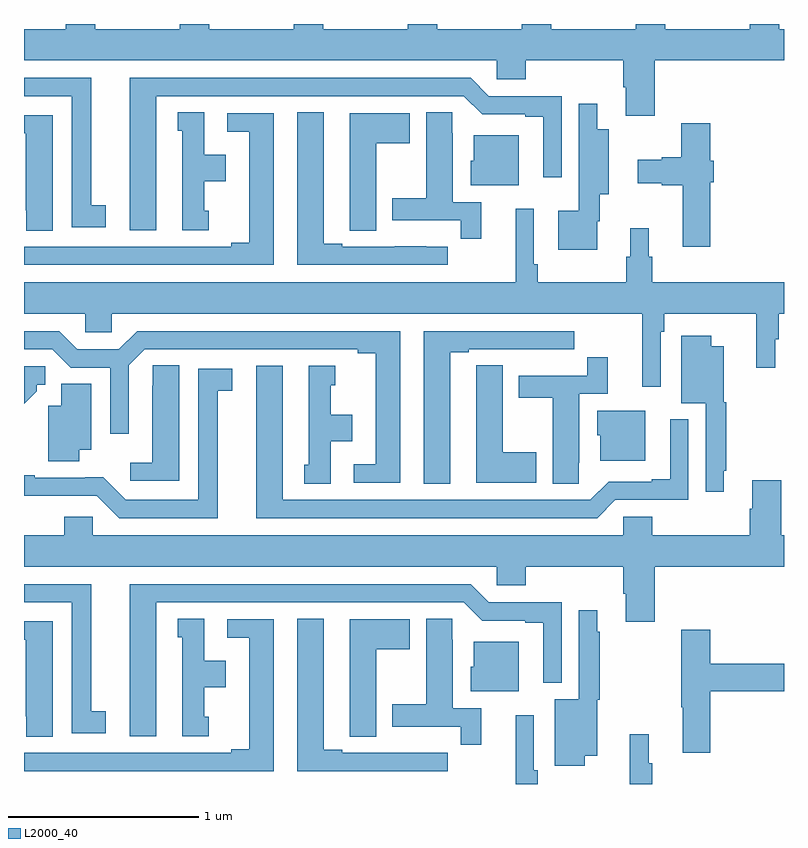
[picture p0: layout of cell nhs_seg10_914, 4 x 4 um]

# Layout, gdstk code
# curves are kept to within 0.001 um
import gdstk
lib = gdstk.Library(unit=1e-6, precision=1e-09)
def P(c, l, *ps):  # polygons
    for p in ps: c.add(gdstk.Polygon(p, *l))
L2000_40 = (2000, 40)

nhs_seg10_914 = lib.new_cell('nhs_seg10_914')
P(nhs_seg10_914, L2000_40, [(160.319,1308.308),(161,1308.308),(161,1308.472),(160.974,1308.472),(160.974,1308.5),(160.819,1308.5),(160.819,1308.472),(160.374,1308.472),(160.374,1308.5),(160.219,1308.5),(160.219,1308.472),(159.774,1308.472),(159.774,1308.5),(159.619,1308.5),(159.619,1308.472),(159.174,1308.472),(159.174,1308.5),(159.019,1308.5),(159.019,1308.472),(158.574,1308.472),(158.574,1308.5),(158.419,1308.5),(158.419,1308.472),(157.974,1308.472),(157.974,1308.5),(157.819,1308.5),(157.819,1308.472),(157.374,1308.472),(157.374,1308.5),(157.219,1308.5),(157.219,1308.472),(157,1308.472),(157,1308.308),(159.489,1308.308),(159.489,1308.21),(159.641,1308.21),(159.641,1308.308),(160.154,1308.308),(160.154,1308.166),(160.166,1308.166),(160.166,1308.018),(160.319,1308.018)],
  [(157.429,1307.546),(157.354,1307.546),(157.354,1308.216),(157,1308.216),(157,1308.12),(157.25,1308.12),(157.25,1307.43),(157.429,1307.43)],
  [(157.696,1308.12),(159.315,1308.12),(159.411,1308.024),(159.638,1308.024),(159.638,1308.012),(159.734,1308.012),(159.734,1307.694),(159.831,1307.694),(159.831,1308.12),(159.447,1308.12),(159.351,1308.216),(157.556,1308.216),(157.556,1307.415),(157.696,1307.415)],
  [(160.017,1307.462),(160.03,1307.462),(160.03,1307.603),(160.078,1307.603),(160.078,1307.947),(160.018,1307.947),(160.018,1308.079),(159.92,1308.079),(159.92,1307.843),(159.919,1307.843),(159.919,1307.518),(159.812,1307.518),(159.812,1307.312),(160.017,1307.312)],
  [(157.972,1307.517),(157.948,1307.517),(157.948,1307.672),(158.062,1307.672),(158.062,1307.812),(157.948,1307.812),(157.948,1308.035),(157.808,1308.035),(157.808,1307.937),(157.832,1307.937),(157.832,1307.415),(157.972,1307.415)],
  [(159.229,1307.328),(159.116,1307.328),(159.116,1307.329),(158.95,1307.329),(158.95,1307.328),(158.674,1307.328),(158.674,1307.343),(158.578,1307.343),(158.578,1308.035),(158.438,1308.035),(158.438,1307.232),(159.229,1307.232)],
  [(159.407,1307.562),(159.256,1307.562),(159.256,1307.924),(159.255,1307.924),(159.255,1308.035),(159.116,1308.035),(159.116,1307.583),(158.939,1307.583),(158.939,1307.466),(159.298,1307.466),(159.298,1307.37),(159.407,1307.37)],
  [(158.854,1307.872),(159.031,1307.872),(159.031,1308.031),(158.714,1308.031),(158.714,1307.521),(158.715,1307.521),(158.715,1307.413),(158.854,1307.413)],
  [(158.314,1308.03),(158.07,1308.03),(158.07,1307.934),(158.186,1307.934),(158.186,1307.348),(158.09,1307.348),(158.09,1307.328),(157,1307.328),(157,1307.232),(158.314,1307.232)],
  [(157.15,1308.021),(157,1308.021),(157,1307.924),(157.01,1307.924),(157.01,1307.521),(157.011,1307.521),(157.011,1307.413),(157.15,1307.413)],
  [(160.613,1307.667),(160.631,1307.667),(160.631,1307.781),(160.613,1307.781),(160.613,1307.977),(160.459,1307.977),(160.459,1307.798),(160.356,1307.798),(160.356,1307.785),(160.23,1307.785),(160.23,1307.663),(160.356,1307.663),(160.356,1307.651),(160.466,1307.651),(160.466,1307.328),(160.613,1307.328)],
  [(159.604,1307.914),(159.368,1307.914),(159.368,1307.781),(159.35,1307.781),(159.35,1307.651),(159.604,1307.651)],
  [(160.35,1306.88),(160.37,1306.88),(160.37,1306.976),(160.855,1306.976),(160.855,1306.692),(160.954,1306.692),(160.954,1306.842),(160.973,1306.842),(160.973,1306.976),(161,1306.976),(161,1307.14),(160.307,1307.14),(160.307,1307.274),(160.288,1307.274),(160.288,1307.425),(160.19,1307.425),(160.19,1307.274),(160.171,1307.274),(160.171,1307.14),(159.704,1307.14),(159.704,1307.236),(159.684,1307.236),(159.684,1307.527),(159.587,1307.527),(159.587,1307.14),(157,1307.14),(157,1306.976),(157.323,1306.976),(157.323,1306.878),(157.461,1306.878),(157.461,1306.976),(160.253,1306.976),(160.253,1306.59),(160.35,1306.59)],
  [(159.244,1306.773),(159.34,1306.773),(159.34,1306.788),(159.616,1306.788),(159.616,1306.787),(159.782,1306.787),(159.782,1306.788),(159.895,1306.788),(159.895,1306.884),(159.104,1306.884),(159.104,1306.081),(159.244,1306.081)],
  [(158.98,1306.884),(157.595,1306.884),(157.499,1306.788),(157.281,1306.788),(157.185,1306.884),(157,1306.884),(157,1306.788),(157.149,1306.788),(157.245,1306.692),(157.455,1306.692),(157.455,1306.344),(157.551,1306.344),(157.551,1306.704),(157.635,1306.788),(158.756,1306.788),(158.756,1306.768),(158.852,1306.768),(158.852,1306.182),(158.736,1306.182),(158.736,1306.086),(158.98,1306.086)],
  [(160.684,1306.15),(160.696,1306.15),(160.696,1306.509),(160.684,1306.509),(160.684,1306.804),(160.618,1306.804),(160.618,1306.858),(160.46,1306.858),(160.46,1306.505),(160.587,1306.505),(160.587,1306.038),(160.684,1306.038)],
  [(159.921,1306.192),(159.922,1306.192),(159.922,1306.554),(160.073,1306.554),(160.073,1306.747),(159.964,1306.747),(159.964,1306.65),(159.605,1306.65),(159.605,1306.534),(159.782,1306.534),(159.782,1306.081),(159.921,1306.081)],
  [(159.697,1306.245),(159.52,1306.245),(159.52,1306.703),(159.381,1306.703),(159.381,1306.595),(159.38,1306.595),(159.38,1306.085),(159.697,1306.085)],
  [(157.816,1306.703),(157.677,1306.703),(157.677,1306.595),(157.676,1306.595),(157.676,1306.192),(157.56,1306.192),(157.56,1306.095),(157.816,1306.095)],
  [(158.614,1306.304),(158.728,1306.304),(158.728,1306.444),(158.614,1306.444),(158.614,1306.599),(158.638,1306.599),(158.638,1306.702),(158.498,1306.702),(158.498,1306.179),(158.474,1306.179),(158.474,1306.081),(158.614,1306.081)],
  [(160.113,1305.996),(160.497,1305.996),(160.497,1306.42),(160.4,1306.42),(160.4,1306.105),(160.304,1306.105),(160.304,1306.092),(160.077,1306.092),(159.981,1305.996),(158.362,1305.996),(158.362,1306.702),(158.222,1306.702),(158.222,1305.9),(160.017,1305.9)],
  [(157.066,1306.567),(157.066,1306.602),(157.111,1306.602),(157.111,1306.698),(157,1306.698),(157,1306.501)],
  [(158.02,1306.57),(158.095,1306.57),(158.095,1306.686),(157.916,1306.686),(157.916,1305.996),(157.536,1305.996),(157.418,1306.114),(157.057,1306.113),(157.057,1306.126),(157,1306.126),(157,1306.016),(157.383,1306.017),(157.5,1305.9),(158.02,1305.9)],
  [(157.291,1306.259),(157.354,1306.259),(157.354,1306.607),(157.196,1306.607),(157.196,1306.492),(157.127,1306.492),(157.127,1306.198),(157.291,1306.198)],
  [(160.27,1306.465),(160.016,1306.465),(160.016,1306.335),(160.034,1306.335),(160.034,1306.202),(160.27,1306.202)],
  [(160.155,1305.808),(157.362,1305.808),(157.362,1305.906),(157.211,1305.906),(157.211,1305.808),(157,1305.808),(157,1305.644),(159.489,1305.644),(159.489,1305.546),(159.641,1305.546),(159.641,1305.644),(160.154,1305.644),(160.154,1305.502),(160.166,1305.502),(160.166,1305.354),(160.319,1305.354),(160.319,1305.644),(161,1305.644),(161,1305.808),(160.985,1305.808),(160.985,1306.099),(160.832,1306.099),(160.832,1305.95),(160.82,1305.95),(160.82,1305.808),(160.307,1305.808),(160.307,1305.906),(160.155,1305.906)],
  [(157.696,1305.456),(159.315,1305.456),(159.411,1305.36),(159.638,1305.36),(159.638,1305.348),(159.734,1305.348),(159.734,1305.032),(159.831,1305.032),(159.831,1305.456),(159.447,1305.456),(159.351,1305.552),(157.556,1305.552),(157.556,1304.751),(157.696,1304.751)],
  [(157.429,1304.882),(157.354,1304.882),(157.354,1305.552),(157,1305.552),(157,1305.456),(157.25,1305.456),(157.25,1304.766),(157.429,1304.766)],
  [(159.952,1304.648),(160.018,1304.648),(160.018,1304.943),(160.03,1304.943),(160.03,1305.302),(160.018,1305.302),(160.018,1305.415),(159.921,1305.415),(159.921,1304.947),(159.794,1304.947),(159.794,1304.595),(159.952,1304.595)],
  [(159.229,1304.664),(159.116,1304.664),(159.116,1304.665),(158.95,1304.665),(158.95,1304.664),(158.674,1304.664),(158.674,1304.679),(158.578,1304.679),(158.578,1305.371),(158.438,1305.371),(158.438,1304.568),(159.229,1304.568)],
  [(159.407,1304.898),(159.256,1304.898),(159.256,1305.26),(159.255,1305.26),(159.255,1305.371),(159.116,1305.371),(159.116,1304.919),(158.939,1304.919),(158.939,1304.802),(159.298,1304.802),(159.298,1304.706),(159.407,1304.706)],
  [(157.972,1304.853),(157.948,1304.853),(157.948,1305.008),(158.062,1305.008),(158.062,1305.148),(157.948,1305.148),(157.948,1305.371),(157.808,1305.371),(157.808,1305.273),(157.832,1305.273),(157.832,1304.751),(157.972,1304.751)],
  [(158.854,1305.208),(159.031,1305.208),(159.031,1305.367),(158.714,1305.367),(158.714,1304.857),(158.715,1304.857),(158.715,1304.749),(158.854,1304.749)],
  [(158.314,1305.366),(158.07,1305.366),(158.07,1305.27),(158.186,1305.27),(158.186,1304.684),(158.09,1304.684),(158.09,1304.664),(157,1304.664),(157,1304.568),(158.314,1304.568)],
  [(157.15,1305.357),(157,1305.357),(157,1305.26),(157.01,1305.26),(157.01,1304.857),(157.011,1304.857),(157.011,1304.749),(157.15,1304.749)],
  [(160.613,1304.987),(161,1304.987),(161,1305.134),(160.613,1305.134),(160.613,1305.313),(160.459,1305.313),(160.459,1304.903),(160.466,1304.903),(160.466,1304.664),(160.613,1304.664)],
  [(159.604,1305.25),(159.368,1305.25),(159.368,1305.117),(159.35,1305.117),(159.35,1304.987),(159.604,1304.987)],
  [(159.704,1304.572),(159.684,1304.572),(159.684,1304.863),(159.587,1304.863),(159.587,1304.5),(159.704,1304.5)],
  [(160.307,1304.61),(160.288,1304.61),(160.288,1304.761),(160.189,1304.761),(160.189,1304.5),(160.307,1304.5)])

lib.write_gds('nhs_seg10_914.gds')
